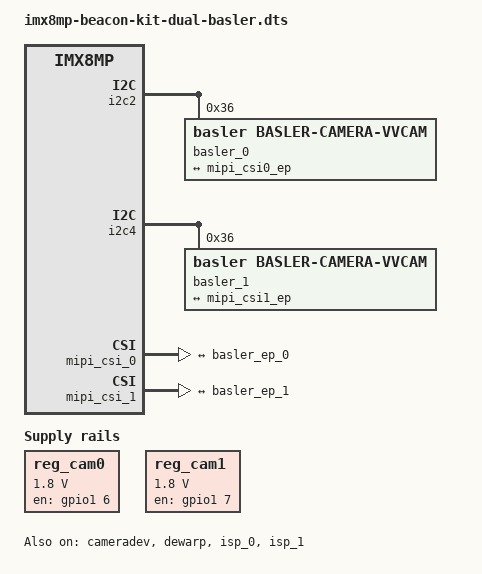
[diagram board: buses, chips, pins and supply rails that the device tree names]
// SPDX-License-Identifier: (GPL-2.0+ OR MIT)
/*
 * Copyright 2022 Logic PD, Inc dba Beacon EmbeddedWorks
 */

#include "imx8mp-beacon-kit.dts"

/ {
	reg_cam0: regulator-camera0 {
		pinctrl-names = "default";
		pinctrl-0 = <&pinctrl_csi0>;
		compatible = "regulator-fixed";
		regulator-name = "reg_cam0";
		regulator-min-microvolt = <1800000>;
		regulator-max-microvolt = <1800000>;
		gpio = <&gpio1 6 GPIO_ACTIVE_HIGH>;
		enable-active-high;
		startup-delay-us = <100000>;
		regulator-always-on;
	};

	reg_cam1: regulator-camera1 {
		pinctrl-names = "default";
		pinctrl-0 = <&pinctrl_csi1>;
		compatible = "regulator-fixed";
		regulator-name = "reg_cam1";
		regulator-min-microvolt = <1800000>;
		regulator-max-microvolt = <1800000>;
		gpio = <&gpio1 7 GPIO_ACTIVE_HIGH>;
		enable-active-high;
		startup-delay-us = <100000>;
		regulator-always-on;
	};
};

&i2c2 {
	/delete-node/ov5640_mipi@3c;

	basler_0: basler_camera_vvcam@36 {
		compatible = "basler,basler-camera-vvcam", "basler-camera-vvcam";
		reg = <0x36>;
		csi_id = <0x00>;
		status = "okay";

		port {
			basler_ep_0: endpoint {
				data-lanes = <1 2 3 4>;
				clock-lanes = <0>;
				link-frequencies = /bits/ 64 <750000000>;

				max-lane-frequency = /bits/ 64 <750000000>;
				max-pixel-frequency = /bits/ 64 <266000000>;
				max-data-rate = /bits/ 64 <0>;

				remote-endpoint = <&mipi_csi0_ep>;
			};
		};
	};
};

&i2c4 {
	basler_1: basler_camera_vvcam@36 {
		compatible = "basler,basler-camera-vvcam", "basler-camera-vvcam";
		reg = <0x36>;
		csi_id = <0x01>;
		status = "okay";

		port {
			basler_ep_1: endpoint {
				data-lanes = <1 2 3 4>;
				clock-lanes = <0>;
				link-frequencies = /bits/ 64 <750000000>;

				max-lane-frequency = /bits/ 64 <750000000>;
				max-pixel-frequency = /bits/ 64 <266000000>;
				max-data-rate = /bits/ 64 <0>;

				remote-endpoint = <&mipi_csi1_ep>;
			};
		};
	};
};

&cameradev {
	status = "okay";
};

&dewarp {
	status = "okay";
};

&iomuxc {
	pinctrl_csi0: csi0_grp {
		fsl,pins = <
			MX8MP_IOMUXC_GPIO1_IO06__GPIO1_IO06		0x19
		>;
	};

	pinctrl_csi1: csi1_grp {
		fsl,pins = <
			MX8MP_IOMUXC_GPIO1_IO07__GPIO1_IO07		0x19
		>;
	};
};

&isp_0 {
	status = "okay";
};

&isp_1 {
	status = "okay";
};

&mipi_csi_0 {
	#address-cells = <1>;
	#size-cells = <0>;
	status = "okay";

	port@0 {
		mipi_csi0_ep: endpoint {
			remote-endpoint = <&basler_ep_0>;
			data-lanes = <4>;
			csis-hs-settle = <16>;
		};
	};
};

&mipi_csi_1 {
	#address-cells = <1>;
	#size-cells = <0>;
	status = "okay";

	port@1 {
		mipi_csi1_ep: endpoint {
			remote-endpoint = <&basler_ep_1>;
			data-lanes = <4>;
			csis-hs-settle = <16>;
		};
	};
};
